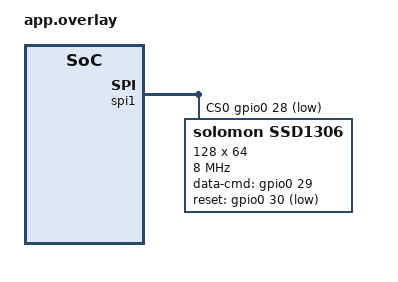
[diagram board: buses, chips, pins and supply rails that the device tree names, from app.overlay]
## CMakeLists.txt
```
cmake_minimum_required(VERSION 3.20.0)

find_package(Zephyr REQUIRED HINTS $ENV{ZEPHYR_BASE})
project(nwatch)

target_sources(app PRIVATE
    src/main.c
    src/gfx/gfx.c
    src/event/event.c
    src/rtc/rtc.c
    src/timer/timer.c
    src/input/input.c
    src/ui/ui.c
    src/drivers/spi.c
    src/obj_manager/obj_manager.c
)

target_include_directories(app PRIVATE
    src/gfx
    src/event
    src/rtc
    src/timer
    src/input
    src/ui
    src/drivers
    src/obj_manager
)
```

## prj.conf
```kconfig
CONFIG_GPIO=y
CONFIG_I2C=y
CONFIG_COUNTER=y
CONFIG_DISPLAY=y
CONFIG_EVENTS=y
CONFIG_POLL=y
CONFIG_SPI=y
CONFIG_SSD1306=y
CONFIG_PRINTK=y
```

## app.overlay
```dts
/ {
    chosen {
        zephyr,display = &ssd1306;
    };
};

&spi1 {
    status = "okay";

    cs-gpios = <&gpio0 28 GPIO_ACTIVE_LOW>;

    ssd1306: display@0 {
        com-invdir;
        segment-remap;
        compatible = "solomon,ssd1306";
        status = "okay";

        reg = <0>;
        spi-max-frequency = <8000000>;

        data-cmd-gpios = <&gpio0 29 GPIO_ACTIVE_HIGH>;
        reset-gpios = <&gpio0 30 GPIO_ACTIVE_LOW>;

        width = <128>;
        height = <64>;

        segment-offset = <0>;
        page-offset = <0>;
        display-offset = <0>;
        multiplex-ratio = <63>;

        prechargep = <0x22>;

        /* Binding 有 default，可先省略 */
        oscillator-freq = <0x80>;
        ready-time-ms = <10>;
    };
};

&pinctrl {
    spi1_default: spi1_default {
        group1 {
            psels = <NRF_PSEL(SPIM_SCK, 0, 16)>,
                    <NRF_PSEL(SPIM_MOSI, 0, 15)>;
        };
    };

    spi1_sleep: spi1_sleep {
        group1 {
            psels = <NRF_PSEL(SPIM_SCK, 0, 16)>,
                    <NRF_PSEL(SPIM_MOSI, 0, 15)>;
            low-power-enable;
        };
    };
};
```

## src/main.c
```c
#include "gfx.h"
#include "input.h"
#include "obj_manager.h"
#include "rtc.h"
#include "timer.h"
#include "ui.h"
#include <event.h>
#include <stdint.h>
#include <zephyr/drivers/display.h>
#include <zephyr/kernel.h>
#include <zephyr/sys/printk.h>

static uint8_t fb[1024];
static struct display_buffer_descriptor desc = {
    .buf_size = sizeof(fb),
    .width = 128,
    .height = 64,
    .pitch = 128,
};
static const struct device *display = DEVICE_DT_GET(DT_CHOSEN(zephyr_display));

static vec2 slide[20] = {{40, 0}, {10, 0}, {10, 0}, {4, 0}, {3, 0},
                         {2, 0},  {1, 0},  {1, 0},  {1, 0}, {0, 0},
                         {1, 0},  {0, 0},  {0, 0},  {0, 0}, {1, 0},
                         {0, 0},  {0, 0},  {0, 0},  {0, 0}, {0, 0}};

static vec2 back_slide[20] = {{-40, 0}, {-10, 0}, {-10, 0}, {-4, 0}, {-3, 0},
                              {-2, 0},  {-1, 0},  {-1, 0},  {-1, 0}, {0, 0},
                              {-1, 0},  {0, 0},   {0, 0},   {0, 0},  {-1, 0},
                              {0, 0},   {0, 0},   {0, 0},   {0, 0},  {0, 0}};

int main() {
  bool during_animation = false;
  bool need_render = false;
  obj_manager_t obj_manager;
  obj_manager_init(&obj_manager);
  buttons_init();
  rtc_init();
  bool visible = true;
  struct k_poll_event events[] = {
      K_POLL_EVENT_STATIC_INITIALIZER(K_POLL_TYPE_MSGQ_DATA_AVAILABLE,
                                      K_POLL_MODE_NOTIFY_ONLY, &event_msgq, 0),
  };
  watch_time_t watch_time;

  set_timer(&watch_time, 5, 10, 0);
  obj_t clock_obj =
      obj_create(-68, 25, draw_clock_ui_cb, slide, 20, &watch_time);
  obj_t test_obj = obj_create(100, 0, draw_test_ui_fb, back_slide, 20, NULL);
  obj_manager_add(&obj_manager, &clock_obj);
  obj_manager_add(&obj_manager, &test_obj);

  while (1) {
    k_poll(events, 1, K_FOREVER);
    event_t e;
    while (k_msgq_get(&event_msgq, &e, K_NO_WAIT) == 0) {
      if (e == EVENT_SECOND) {
        timer_add_one_second(&watch_time);
      }
      if (e == EVENT_ANIMATION) {
      }
      if (e == EVENT_BUTTON0) {
        obj_animation_reset(&test_obj);
        obj_animation_reset(&clock_obj);
      }
      if (e == EVENT_BUTTON1) {
        visible = !visible;
        obj_set_visible(&test_obj, visible);
      }
      // update screen
      switch (e) {
      case EVENT_SECOND:
        if (!during_animation)
          need_render = true;

        break;

      case EVENT_ANIMATION:
        need_render = true;
        break;

      case EVENT_BUTTON0:
        need_render = true;
        break;
      }
      if (need_render) {
        gfx_clear(fb);
        obj_manager_update(fb, &obj_manager, &during_animation);
        display_write(display, 0, 0, &desc, fb);
        if (during_animation)
          rtc_fps_set(20);
        else
          rtc_fps_off();
      }
    }
  }
}
```

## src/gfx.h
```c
#pragma once
#include <stdint.h>

void gfx_draw_pixel(uint8_t *fb, int x, int y);

void gfx_draw_rect(uint8_t *fb, int x1, int y1, int x2, int y2);

void gfx_clear(uint8_t *fb);

void gfx_draw_font(uint8_t *fb, int x, int y, int ch, int scale);

void gfx_print(uint8_t *fb, int x, int y, char str[], uint8_t scale,
               uint8_t space);

void gfx_draw_line(uint8_t *fb, int x1, int y1, int x2, int y2);
```
